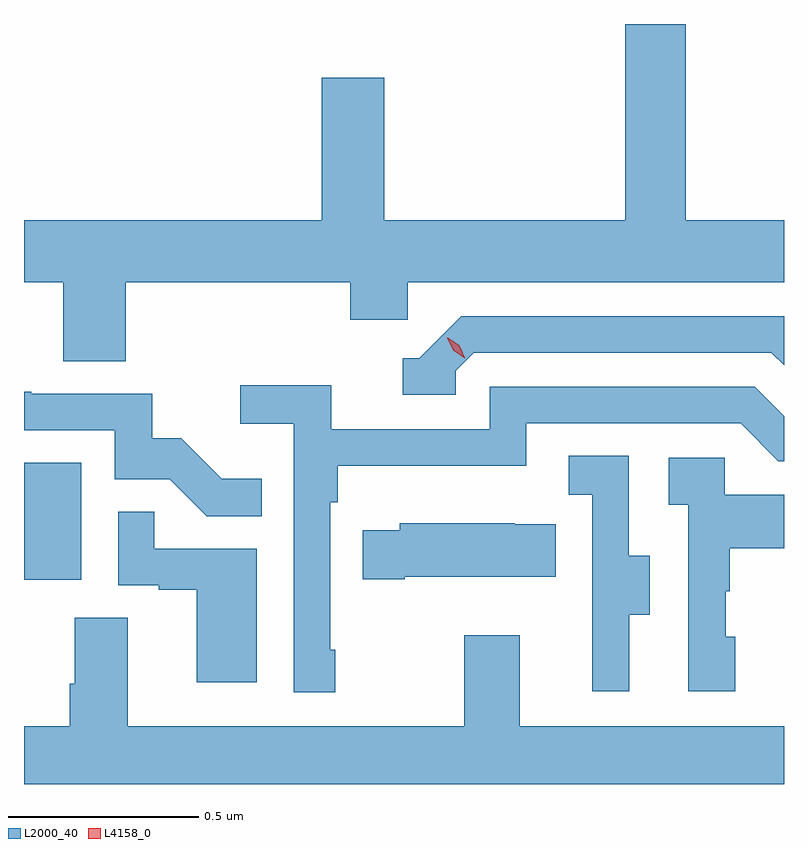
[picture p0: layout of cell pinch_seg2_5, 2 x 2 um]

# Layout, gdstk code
import gdstk
lib = gdstk.Library(unit=1e-6, precision=1e-09)
def R(c, l, rs):  # rectangles x0, y0, x1, y1
    for r in rs: c.add(gdstk.rectangle(r[:2], r[2:], *l))
def P(c, l, *ps):  # polygons
    for p in ps: c.add(gdstk.Polygon(p, *l))
L2000_40 = (2000, 40)
L4158_0 = (4158, 0)

pinch_seg2_5 = lib.new_cell('pinch_seg2_5')
R(pinch_seg2_5, L2000_40, [(1141.246,660.174,1141.396,660.481)])
P(pinch_seg2_5, L2000_40, [(1141.514,660.956),(1142.105,660.956),(1142.105,660.858),(1142.256,660.858),(1142.256,660.956),(1143.246,660.956),(1143.246,661.12),(1142.988,661.12),(1142.988,661.636),(1142.828,661.636),(1142.828,661.12),(1142.194,661.12),(1142.194,661.495),(1142.03,661.495),(1142.03,661.12),(1141.246,661.12),(1141.246,660.956),(1141.349,660.956),(1141.349,660.748),(1141.514,660.748)],
  [(1142.382,660.723),(1142.43,660.771),(1143.213,660.771),(1143.246,660.738),(1143.246,660.867),(1142.397,660.867),(1142.286,660.756),(1142.243,660.756),(1142.243,660.66),(1142.382,660.66)],
  [(1142.065,659.989),(1142.052,659.989),(1142.052,660.377),(1142.072,660.377),(1142.072,660.473),(1142.568,660.473),(1142.568,660.585),(1143.132,660.585),(1143.231,660.486),(1143.246,660.486),(1143.246,660.604),(1143.169,660.681),(1142.472,660.681),(1142.472,660.57),(1142.054,660.57),(1142.054,660.686),(1141.815,660.686),(1141.815,660.584),(1141.956,660.584),(1141.956,659.877),(1142.065,659.877)],
  [(1141.871,660.439),(1141.767,660.439),(1141.66,660.546),(1141.584,660.546),(1141.584,660.663),(1141.265,660.663),(1141.265,660.668),(1141.246,660.668),(1141.246,660.567),(1141.485,660.567),(1141.485,660.438),(1141.629,660.438),(1141.727,660.34),(1141.871,660.34)],
  [(1142.839,660.082),(1142.893,660.082),(1142.893,660.237),(1142.838,660.237),(1142.838,660.5),(1142.679,660.5),(1142.679,660.397),(1142.742,660.397),(1142.742,660.093),(1142.741,660.093),(1142.741,659.88),(1142.839,659.88)],
  [(1143.118,660.024),(1143.093,660.024),(1143.093,660.143),(1143.103,660.143),(1143.103,660.257),(1143.246,660.257),(1143.246,660.397),(1143.09,660.397),(1143.09,660.495),(1142.943,660.495),(1142.943,660.371),(1142.994,660.371),(1142.994,659.88),(1143.118,659.88)],
  [(1141.858,660.255),(1141.589,660.255),(1141.589,660.353),(1141.494,660.353),(1141.494,660.159),(1141.601,660.159),(1141.601,660.147),(1141.7,660.147),(1141.7,659.904),(1141.858,659.904)],
  [(1142.248,660.182),(1142.645,660.182),(1142.645,660.319),(1142.537,660.319),(1142.537,660.322),(1142.235,660.322),(1142.235,660.304),(1142.137,660.304),(1142.137,660.175),(1142.248,660.175)],
  [(1143.246,659.788),(1142.551,659.788),(1142.551,660.028),(1142.404,660.028),(1142.404,659.788),(1141.519,659.788),(1141.519,660.074),(1141.379,660.074),(1141.379,659.9),(1141.367,659.9),(1141.367,659.788),(1141.246,659.788),(1141.246,659.636),(1143.246,659.636)])
P(pinch_seg2_5, L4158_0, [(1142.406,660.757),(1142.376,660.777),(1142.36,660.81),(1142.36,660.81),(1142.361,660.81),(1142.391,660.79),(1142.406,660.758),(1142.406,660.757)])

lib.write_gds('pinch_seg2_5.gds')
